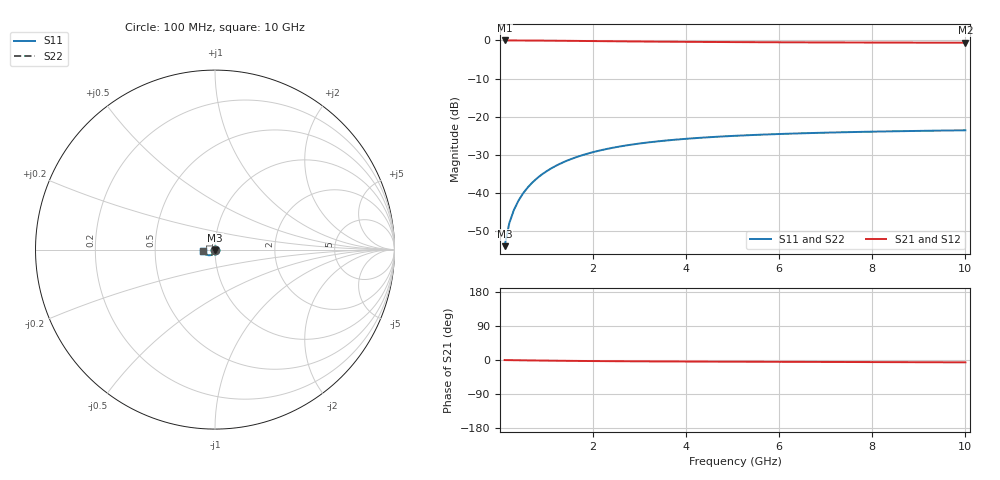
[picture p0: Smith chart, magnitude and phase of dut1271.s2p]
! Touchstone file exported from HFSS 2024.1.0
!  File:  C:/UserFiles/LocalFiles/RDL_TSV_Batchsim/temp_TSV1_1271_1780254469.aedt
!  Generated:  03:12:19 AM Jun  1, 2026
!  Design:  TSV1
!  Project:  temp_TSV1_1271_1780254469
!  Setup:  Setup1
!  Solution:  Sweep
! Variables:
!  dtsv = 13.29um
!  hbump = 3um
!  htsv = 97.62um
!  lrdl = 252.1521522um
!  p = 40
!  p1 = 54.2um
!  t = 500um
!  trdl = 3um
!  wrdl = 24.89489489um
# GHz S MA R 50.000000
! Terminal data exported
! Port[1] = TSV22_T1
! Port[2] = TSV22_T2
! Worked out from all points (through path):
!   100 points, 100 MHz to 10 GHz, reference 50 ohm
!   highest |S21| = 0.00 dB at 100 MHz (marker M1); lowest = -0.6 dB at 10 GHz (marker M2)
!   lowest |S11| = -54.0 dB at 100 MHz (marker M3), VSWR 1.00, Z = 50 - j0.199 ohm
!   |S11| at or under -10 dB: start of sweep to end of sweep
!   |S22| runs from -54.0 to -23.6 dB; largest |S21 - S12| = 3.4e-15
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0.1  0.001992 -89.0  0.9998 -0.2  0.9998 -0.2  0.001992 -89.0
! Gamma 0 0 0 0
! Port Impedance 50 0 50 0
0.2  0.003981 -92.1  0.9996 -0.3  0.9996 -0.3  0.003981 -92.1
0.3  0.005966 -94.4  0.9993 -0.5  0.9993 -0.5  0.005966 -94.4
0.4  0.00794 -96.4  0.9988 -0.7  0.9988 -0.7  0.00794 -96.4
0.5  0.009894 -98.4  0.9983 -0.8  0.9983 -0.8  0.009894 -98.4
0.6  0.01182 -100.3  0.9976 -1.0  0.9976 -1.0  0.01182 -100.3
0.7  0.01372 -102.2  0.9968 -1.2  0.9968 -1.2  0.01372 -102.2
0.8  0.01558 -104.0  0.9959 -1.3  0.9959 -1.3  0.01558 -104.0
0.9  0.0174 -105.8  0.995 -1.5  0.995 -1.5  0.0174 -105.8
1.1  0.0209 -109.3  0.9929 -1.7  0.9929 -1.7  0.0209 -109.3
1.4  0.02579 -114.2  0.9893 -2.1  0.9893 -2.1  0.02579 -114.2
1.6  0.02879 -117.3  0.9868 -2.4  0.9868 -2.4  0.02879 -117.3
1.8  0.03158 -120.2  0.9842 -2.6  0.9842 -2.6  0.03158 -120.2
2.1  0.03538 -124.4  0.9802 -2.9  0.9802 -2.9  0.03538 -124.4
2.5  0.03979 -129.3  0.9751 -3.2  0.9751 -3.2  0.03979 -129.3
2.9  0.04352 -133.8  0.9703 -3.5  0.9703 -3.5  0.04352 -133.8
3.4  0.04741 -138.7  0.9649 -3.7  0.9649 -3.7  0.04741 -138.7
4.2  0.05222 -145.3  0.9576 -4.1  0.9576 -4.1  0.05222 -145.3
5.1  0.05618 -151.4  0.9511 -4.5  0.9511 -4.5  0.05618 -151.4
6.7  0.06091 -159.8  0.943 -5.0  0.943 -5.0  0.06091 -159.8
8.4  0.06411 -166.6  0.9374 -5.6  0.9374 -5.6  0.0641 -166.6
10  0.06618 -171.9  0.9338 -6.2  0.9338 -6.2  0.06618 -171.9
